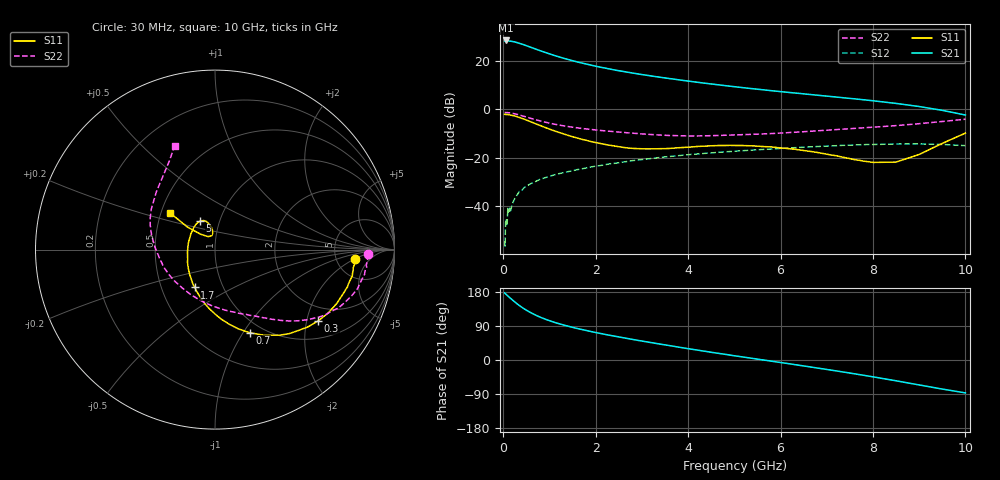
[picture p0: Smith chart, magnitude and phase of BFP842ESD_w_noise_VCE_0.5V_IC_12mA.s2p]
! Infineon Technologies  Discrete & RF Semiconductors
! BFP842ESD
! VCE =  0.5 V,  IC =  12 mA
! Common Emitter S-Parameters:  May 2012
# GHz  S  MA  R  50
!  f  S11  S21  S12  S22
! GHz  MAG  ANG  MAG  ANG  MAG  ANG  MAG  ANG
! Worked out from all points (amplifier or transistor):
!   99 points, 30 MHz to 10 GHz, reference 50 ohm
!   highest |S21| = 28.3 dB at 60 MHz (marker M1)
!   |S21| within 3 dB of that: start of sweep to 623.2 MHz
!   unconditionally stable (mu >= 1): start of sweep to 44.03 MHz; 56.86 MHz to 63.7 MHz; 1.994 GHz to end of sweep (the widest 3 of 4)
!   at 350 MHz: K = 0.42, MSG = 30.5 dB, |S12| = -33.9 dB
!   at 3.5 GHz: K = 1.17, MAG = 13.8 dB, |S12| = -19.7 dB
!   at 10 GHz: K = 2.02, MAG = 0.5 dB, |S12| = -15.0 dB
!   lowest NFmin = 0.63 dB at 450 MHz
!   S11 on the Smith chart (normalised r, x): 30 MHz: 7.62, -1.97; 300 MHz: 1.51, -2.34; 700 MHz: 0.86, -1.07; 1.7 GHz: 0.73, -0.33; 5 GHz: 0.81, +0.26; 10 GHz: 0.56, +0.25
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0.03  0.781 -3.7  25.47 177.2  0.0019 52.0  0.8507 -1.8
0.04  0.7786 -4.9  25.55 176.0  0.0015 53.9  0.8518 -2.5
0.05  0.7819 -5.9  25.58 174.6  0.0045 83.8  0.8518 -3.5
0.06  0.7766 -7.5  26.09 173.5  0.0054 7.1  0.8484 -4.6
0.09  0.7789 -10.8  25.57 170.3  0.0055 84.3  0.851 -6.7
0.11  0.7694 -13.7  25.72 167.8  0.0076 74.6  0.8441 -8.3
0.2  0.7422 -23.8  24.79 158.4  0.0114 74.8  0.8227 -15.5
0.3  0.6984 -34.7  23.56 148.2  0.017 67.1  0.7808 -22.2
0.45  0.624 -48.7  21.23 135.2  0.0241 63.5  0.7137 -30.7
0.6  0.5476 -60.5  18.82 124.6  0.0293 59.3  0.6463 -37.2
0.7  0.5015 -67.4  17.35 118.5  0.0323 57.6  0.6075 -40.8
0.9  0.422 -79.4  14.87 108.2  0.0384 54.7  0.5428 -46.7
1.1  0.3586 -90.0  12.86 99.7  0.0441 52.3  0.4928 -51.7
1.4  0.2893 -104.4  10.6 89.3  0.0514 50.2  0.4393 -57.9
1.7  0.2393 -118.1  8.938 80.5  0.0589 47.6  0.4001 -64.3
2.4  0.1747 -150.0  6.457 63.1  0.0765 40.9  0.344 -79.7
3.4  0.1533 162.8  4.543 41.9  0.1015 29.6  0.2925 -107.2
5  0.1787 118.0  2.908 11.2  0.1355 9.1  0.2945 -154.7
5.1  0.1785 116.6  2.837 9.5  0.1381 7.9  0.2959 -157.0
6.7  0.1324 100.2  1.982 -19.4  0.1677 -14.2  0.3527 170.1
8.5  0.0812 117.3  1.314 -54.9  0.1916 -46.3  0.4584 135.5
10  0.3208 140.8  0.757 -86.8  0.1771 -80.2  0.621 111.3
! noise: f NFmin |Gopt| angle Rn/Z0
0.45  0.63  0.11  0  0.11
0.9  0.64  0.11  2  0.1
1.5  0.65  0.11  6  0.09
1.9  0.66  0.1  15  0.08
2.4  0.67  0.08  19  0.08
3.5  0.74  0.03  146  0.08
4  0.78  0.05  -160  0.07
5  0.85  0.08  -132  0.07
5.5  0.95  0.1  -127  0.08
6  1.05  0.11  -121  0.1
